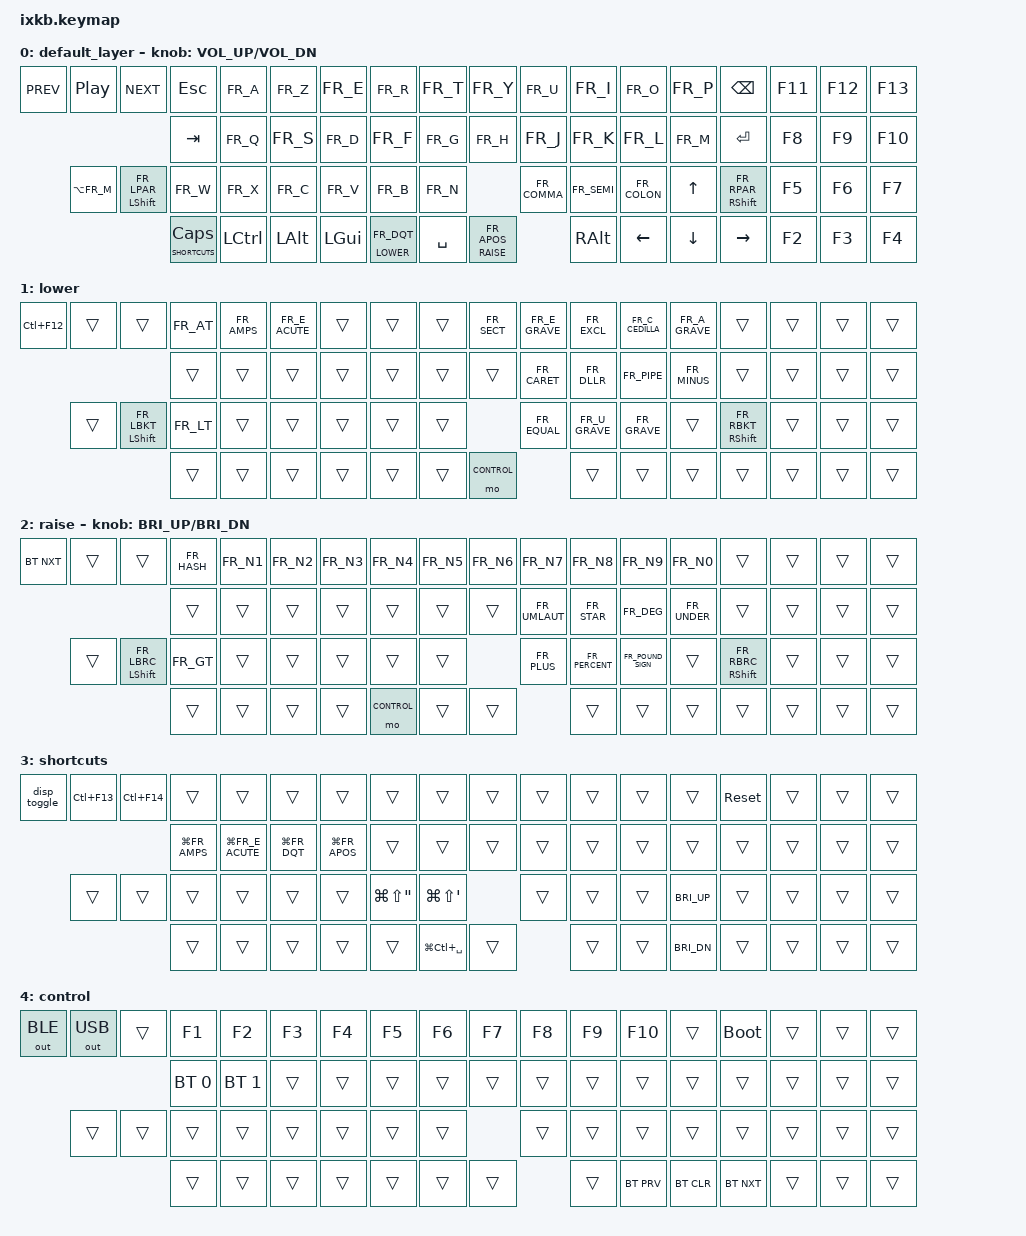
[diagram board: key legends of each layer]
/*
 * Copyright (c) 2020 The ZMK Contributors
 *
 * SPDX-License-Identifier: MIT
 */

#include <behaviors.dtsi>
#include <dt-bindings/zmk/keys.h>
#include <dt-bindings/zmk/bt.h>
#include <dt-bindings/zmk/outputs.h>

#include "keys_fr_osx.h"

#define DEFAULT 0
#define LOWER 1
#define RAISE 2
#define SHORTCUTS 3
#define CONTROL 4

#define CAPF LG(LS(DQT))
#define CAPR LG(LS(APOS))
#define CHAR LG(LC(SPACE))

#define SPACE1 LG(FR_AMPS)
#define SPACE2 LG(FR_E_ACUTE)
#define SPACE3 LG(FR_DQT)
#define SPACE4 LG(FR_APOS)

#define DISP_TOGGLE LC(F12)
#define PS5_TOGGLE LC(F13)
#define PS5_PIP LC(F14)

&lt {
    tapping-term-ms = <125>;
};

/ {
    macros {
        disp_toggle: disp_toggle {
            compatible = "zmk,behavior-macro";
            #binding-cells = <0>;
            bindings
                = <&kp DISP_TOGGLE>
                , <&bt BT_NXT>
                ;
        };
    };
    keymap {
        compatible = "zmk,keymap";

        default_layer {
            bindings = <
                &kp C_PREV      &kp C_PP      &kp C_NEXT        &kp ESC             &kp FR_A            &kp FR_Z            &kp FR_E            &kp FR_R            &kp FR_T            &kp FR_Y            &kp FR_U            &kp FR_I             &kp FR_O            &kp FR_P            &kp BSPC                   &kp F11  &kp F12  &kp F13
                                                                &kp TAB             &kp FR_Q            &kp FR_S            &kp FR_D            &kp FR_F            &kp FR_G            &kp FR_H            &kp FR_J            &kp FR_K             &kp FR_L            &kp FR_M            &kp ENTER                  &kp F8   &kp F9   &kp F10
                            &kp LA(FR_M)                        &mt LSHFT FR_LPAR   &kp FR_W            &kp FR_X            &kp FR_C            &kp FR_V            &kp FR_B            &kp FR_N            &kp FR_COMMA        &kp FR_SEMI          &kp FR_COLON        &kp UP              &mt RSHFT FR_RPAR          &kp F5   &kp F6   &kp F7
                                                                &lt SHORTCUTS CAPS  &kp LCTRL           &kp LALT            &kp LGUI            &lt LOWER FR_DQT             &kp SPACE                      &lt RAISE FR_APOS   &kp RALT             &kp LEFT            &kp DOWN            &kp RIGHT                  &kp F2   &kp F3   &kp F4
            >;

            sensor-bindings = <&inc_dec_kp C_VOL_UP C_VOL_DN>;
        };

        lower {
            bindings = <
              &kp DISP_TOGGLE   &trans          &trans          &kp FR_AT           &kp FR_AMPS         &kp FR_E_ACUTE      &trans              &trans              &trans              &kp FR_SECT         &kp FR_E_GRAVE      &kp FR_EXCL         &kp FR_C_CEDILLA    &kp FR_A_GRAVE      &trans                      &trans      &trans      &trans
                                                                &trans              &trans              &trans              &trans              &trans              &trans              &trans              &kp FR_CARET        &kp FR_DLLR         &kp FR_PIPE         &kp FR_MINUS        &trans                      &trans      &trans      &trans
                                &trans                          &mt LSHFT FR_LBKT   &kp FR_LT           &trans              &trans              &trans              &trans              &trans              &kp FR_EQUAL        &kp FR_U_GRAVE      &kp FR_GRAVE        &trans              &mt RSHFT FR_RBKT           &trans      &trans      &trans
                                                                &trans              &trans              &trans              &trans              &trans                        &trans                        &mo CONTROL         &trans              &trans              &trans              &trans                      &trans      &trans      &trans
            >;
        };

        raise {
            bindings = <
                &bt BT_NXT      &trans          &trans          &kp FR_HASH         &kp FR_N1           &kp FR_N2           &kp FR_N3           &kp FR_N4           &kp FR_N5           &kp FR_N6           &kp FR_N7           &kp FR_N8           &kp FR_N9           &kp FR_N0           &trans                      &trans      &trans      &trans
                                                                &trans              &trans              &trans              &trans              &trans              &trans              &trans              &kp FR_UMLAUT       &kp FR_STAR         &kp FR_DEG          &kp FR_UNDER        &trans                      &trans      &trans      &trans
                                &trans                          &mt LSHFT FR_LBRC   &kp FR_GT           &trans              &trans              &trans              &trans              &trans              &kp FR_PLUS         &kp FR_PERCENT      &kp FR_POUND_SIGN   &trans              &mt RSHFT FR_RBRC           &trans      &trans      &trans
                                                                &trans              &trans              &trans              &trans              &mo CONTROL                   &trans                        &trans              &trans              &trans              &trans              &trans                      &trans      &trans      &trans
            >;

            sensor-bindings = <&inc_dec_kp C_BRI_UP C_BRI_DN>;
        };

        shortcuts {
            bindings = <
              &disp_toggle   &kp PS5_TOGGLE  &kp PS5_PIP        &trans              &trans              &trans              &trans              &trans              &trans              &trans              &trans              &trans              &trans              &trans              &sys_reset                  &trans      &trans      &trans
                                                                &kp SPACE1          &kp SPACE2          &kp SPACE3          &kp SPACE4          &trans              &trans              &trans              &trans              &trans              &trans              &trans              &trans                      &trans      &trans      &trans
                                &trans                          &trans              &trans              &trans              &trans              &trans              &kp CAPF            &kp CAPR            &trans              &trans              &trans              &kp C_BRI_UP        &trans                      &trans      &trans      &trans
                                                                &trans              &trans              &trans              &trans              &trans                        &kp CHAR                      &trans              &trans              &trans              &kp C_BRI_DN        &trans                      &trans      &trans      &trans
            >;
        };

        control {
            bindings = <
                &out OUT_BLE    &out OUT_USB    &trans          &kp F1              &kp F2              &kp F3              &kp F4              &kp F5              &kp F6              &kp F7              &kp F8              &kp F9              &kp F10             &trans              &bootloader                 &trans      &trans      &trans
                                                                &bt BT_SEL 0        &bt BT_SEL 1        &trans              &trans              &trans              &trans              &trans              &trans              &trans              &trans              &trans              &trans                      &trans      &trans      &trans
                                &trans                          &trans              &trans              &trans              &trans              &trans              &trans              &trans              &trans              &trans              &trans              &trans              &trans                      &trans      &trans      &trans
                                                                &trans              &trans              &trans              &trans              &trans                         &trans                       &trans              &trans              &bt BT_PRV          &bt BT_CLR          &bt BT_NXT                  &trans      &trans      &trans
            >;
        };
    };
};
